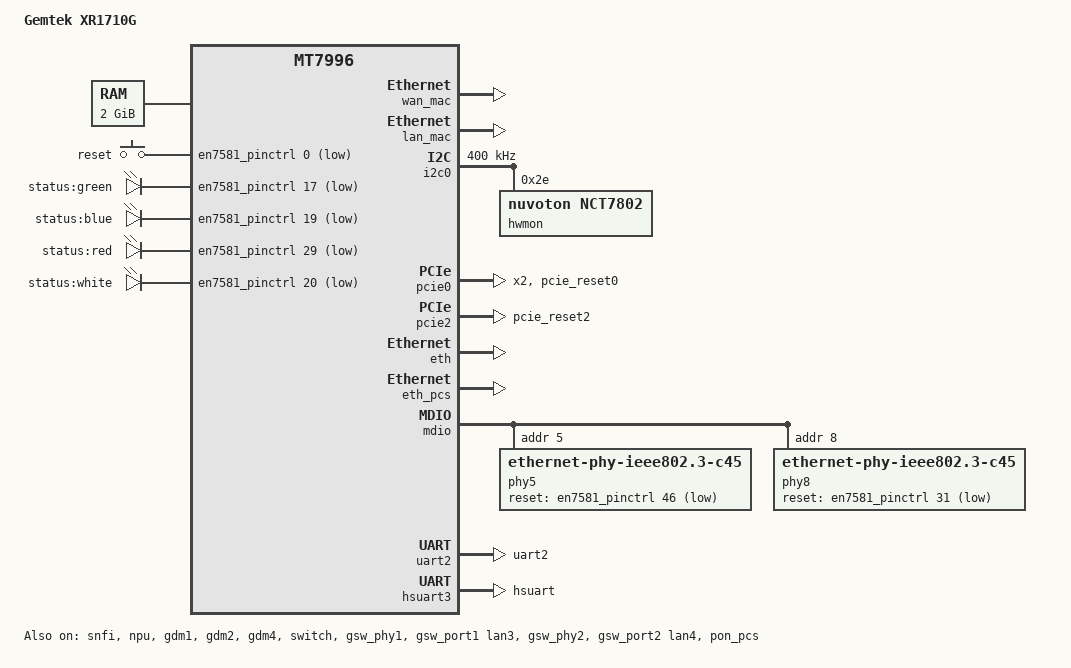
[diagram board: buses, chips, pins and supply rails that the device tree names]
// SPDX-License-Identifier: GPL-2.0-or-later OR MIT
/dts-v1/;

/memreserve/ 0x80000000 0x200000;
#include <dt-bindings/leds/common.h>
#include <dt-bindings/gpio/gpio.h>
#include <dt-bindings/input/input.h>
#include <dt-bindings/phy/phy.h>
#include "an7581.dtsi"
#include "an7581-npu-mt7996.dtsi"
/ {
	model = "Gemtek XR1710G";
	compatible = "gemtek,xr1710g",
		     "airoha,an7581", "airoha,en7581";
	aliases {
		serial0 = &uart1;
		led-boot = &led_status_red;
		led-failsafe = &led_status_blue;
		led-upgrade = &led_status_blue;
		led-running = &led_status_green;
	};
	chosen {
		rootdisk = <&ubi_rootfs>;
		bootargs = "console=ttyS0,115200 earlycon";
		stdout-path = "serial0:115200n8";
	};
	memory@80000000 {
		device_type = "memory";
		/* The board contains 2 GiB of DRAM. */
		reg = <0x0 0x80000000 0x0 0x80000000>;
	};
	keys {
		compatible = "gpio-keys";
		key-restart {
			label = "reset";
			gpios = <&en7581_pinctrl 0 GPIO_ACTIVE_LOW>;
			linux,code = <KEY_RESTART>;
		};
	};
	leds {
		compatible = "gpio-leds";
		led_status_green: led-status-green {
			label = "status:green";
			gpios = <&en7581_pinctrl 17 GPIO_ACTIVE_LOW>;
		};
		led_status_blue: led-status-blue {
			label = "status:blue";
			gpios = <&en7581_pinctrl 19 GPIO_ACTIVE_LOW>;
		};
		led_status_red: led-status-red {
			label = "status:red";
			gpios = <&en7581_pinctrl 29 GPIO_ACTIVE_LOW>;
			default-state = "on";
		};
		led_status_white: led-status-white {
			label = "status:white";
			gpios = <&en7581_pinctrl 20 GPIO_ACTIVE_LOW>;
		};
	};
};
&en7581_pinctrl {
	gpio-ranges = <&en7581_pinctrl 0 13 47>;
	mdio_pins: mdio-pins {
		mux {
			function = "mdio";
			groups = "mdio";
		};
		conf {
			pins = "gpio2";
			output-high;
		};
	};
	pcie0_rst_pins: pcie0-rst-pins {
		conf {
			pins = "pcie_reset0";
			drive-open-drain = <1>;
		};
	};
	pcie2_rst_pins: pcie2-rst-pins {
		conf {
			pins = "pcie_reset2";
			drive-open-drain = <1>;
		};
	};
	/* LAN2/LAN3 LEDs are driven directly by the internal MT7530 switch. */
	gswp1_led0_pins: gswp1-led0-pins {
		mux {
			function = "phy1_led0";
			pins = "gpio33";
		};
	};
	gswp1_led1_pins: gswp1-led1-pins {
		mux {
			function = "phy1_led1";
			pins = "gpio43";
		};
	};
	gswp2_led0_pins: gswp2-led0-pins {
		mux {
			function = "phy2_led0";
			pins = "gpio34";
		};
	};
	gswp2_led1_pins: gswp2-led1-pins {
		mux {
			function = "phy2_led1";
			pins = "gpio44";
		};
	};
	uart2_pins: uart2-pins {
		mux {
			function = "uart";
			groups = "uart2";
		};
	};
	hsuart_pins: hsuart-pins {
		mux {
			function = "uart";
			groups = "hsuart";
		};
	};
};
&snfi {
	status = "okay";
};
&spi_nand {
	#address-cells = <1>;
	#size-cells = <1>;
	partitions {
		compatible = "fixed-partitions";
		#address-cells = <1>;
		#size-cells = <1>;
		partition@0 {
			label = "vendor";
			reg = <0x00000000 0x00600000>;
			read-only;
		};
		partition@600000 {
			label = "chainloader";
			reg = <0x00600000 0x00100000>;
			read-only;
		};
		partition@700000 {
			label = "ubi";
			reg = <0x00700000 0x1b700000>;
			compatible = "linux,ubi";
			volumes {
				ubi-volume-ubootenv {
					volname = "ubootenv";
					nvmem-layout {
						compatible = "u-boot,env-redundant-bool-layout";
					};
				};
				ubi-volume-ubootenv2 {
					volname = "ubootenv2";
					nvmem-layout {
						compatible = "u-boot,env-redundant-bool-layout";
					};
				};
				ubi_rootfs: ubi-volume-fit {
					volname = "fit";
				};
				ubi_factory: ubi-volume-factory {
					volname = "factory";
				};
			};
		};
		/* reserved for bad block table */
		reserved_bmt@1be00000 {
			label = "reserved_bmt";
			reg = <0x1be00000 0x04200000>;
			read-only;
		};
	};
};
&ubi_factory {
	nvmem-layout {
		compatible = "fixed-layout";
		#address-cells = <1>;
		#size-cells = <1>;
		eeprom: eeprom@0 {
			reg = <0x0 0x1e00>;
		};
		wan_mac: macaddr@5000 {
			compatible = "mac-base";
			#nvmem-cell-cells = <1>;
			reg = <0x5000 0x6>;
		};
		lan_mac: macaddr@6000 {
			/* +0: main LAN2, +1/+2/+3: Wi-Fi bands, +4: CPU. */
			compatible = "mac-base";
			reg = <0x6000 0x6>;
			#nvmem-cell-cells = <1>;
		};
	};
};
&i2c0 {
	clock-frequency = <400000>;
	status = "okay";
	hwmon@2e {
		compatible = "nuvoton,nct7802";
		reg = <0x2e>;
	};
};
&pcie0 {
	status = "okay";

	reg = <0x0 0x1fc00000 0x0 0x1670>,
	      <0x0 0x1fc20000 0x0 0x1670>;

	reg-names = "pcie-mac", "sec-pcie-mac";

	resets = <&scuclk EN7581_PCIE0_RST>,
		 <&scuclk EN7581_PCIE1_RST>,
		 <&scuclk EN7581_PCIC_PERSTOUT0_RST>,
		 <&scuclk EN7581_PCIC_PERSTOUT1_RST>;

	reset-names = "phy-lane0",
		      "phy-lane1",
		      "perstout",
		      "sec-perstout";

	num-lanes = <2>;
	max-link-speed = <3>;

	airoha,scu = <&scuclk>;

	pinctrl-names = "default";
	pinctrl-0 = <&pcie0_rst_pins>;
	pcie@0,0 {
		reg = <0x0000 0 0 0 0>;
		device_type = "pci";
		#address-cells = <3>;
		#size-cells = <2>;
		mt7996@0,0 {
			reg = <0x0000 0 0 0 0>;
			#address-cells = <1>;
			#size-cells = <0>;
			nvmem-cells = <&eeprom>;
			nvmem-cell-names = "eeprom";
			airoha,npu = <&npu>;
			airoha,eth = <&eth>;
			band@0 {
				/* 2.4 GHz */
				reg = <0>;
				nvmem-cells = <&lan_mac 1>;
				nvmem-cell-names = "mac-address";
			};
			band@1 {
				/* 5 GHz */
				reg = <1>;
				nvmem-cells = <&lan_mac 2>;
				nvmem-cell-names = "mac-address";
			};
			band@2 {
				/* 6 GHz */
				reg = <2>;
				nvmem-cells = <&lan_mac 3>;
				nvmem-cell-names = "mac-address";
			};
		};
	};
};

&pcie1 {
	status = "disabled";
};

&pcie2 {
	airoha,wait-for-pcie0-perst;
	status = "okay";
	max-link-speed = <2>;
	airoha,scu = <&scuclk>;
	pinctrl-names = "default";
	pinctrl-0 = <&pcie2_rst_pins>;
};



&npu {
	status = "okay";
};
&afe {
	status = "disabled";
};
&eth {
	status = "okay";
};

&gdm1 {
	status = "okay";
	nvmem-cells = <&lan_mac 4>;
	nvmem-cell-names = "mac-address";
	openwrt,netdev-name = "cpu";
};
&gdm2 {
	status = "okay";
	managed = "in-band-status";
	phy-handle = <&phy8>;
	phy-mode = "usxgmii";
	nvmem-cells = <&wan_mac 0>;
	nvmem-cell-names = "mac-address";
	openwrt,netdev-name = "wan";
};
&eth_pcs {
	status = "okay";
};
&gdm4 {
	status = "okay";
	managed = "in-band-status";
	phy-handle = <&phy5>;
	phy-mode = "usxgmii";
	nvmem-cells = <&lan_mac 0>;
	nvmem-cell-names = "mac-address";
	openwrt,netdev-name = "lan2";
};
&switch {
	status = "okay";
	pinctrl-names = "default";
	pinctrl-0 = <&mdio_pins>;
	mdio {
		phy5: ethernet-phy@5 {
			compatible = "ethernet-phy-ieee802.3-c45";
			reg = <5>;
			reset-gpios = <&en7581_pinctrl 46 GPIO_ACTIVE_LOW>;
			reset-assert-us = <200000>;
			reset-deassert-us = <200000>;
			tx-polarity = <PHY_POL_INVERT>;
			rx-polarity = <PHY_POL_INVERT>;
			realtek,patch-rtk-serdes;
		};
		phy8: ethernet-phy@8 {
			compatible = "ethernet-phy-ieee802.3-c45";
			reg = <8>;
			reset-gpios = <&en7581_pinctrl 31 GPIO_ACTIVE_LOW>;
			reset-assert-us = <200000>;
			reset-deassert-us = <200000>;
			tx-polarity = <PHY_POL_INVERT>;
			rx-polarity = <PHY_POL_INVERT>;
			realtek,patch-rtk-serdes;
		};
	};
};
&gsw_phy1 {
	status = "okay";
	pinctrl-names = "gbe-led";
	pinctrl-0 = <&gswp1_led0_pins>, <&gswp1_led1_pins>;
	leds {
		/delete-node/ led@0;
		/delete-node/ led@1;
		lan3-green {
			reg = <0>;
			linux,led-devicename = "lan3";
			label = "green";
			active-low;
			status = "okay";
		};
		lan3-amber {
			reg = <1>;
			linux,led-devicename = "lan3";
			label = "amber";
			active-low;
			status = "okay";
		};
	};
};
&gsw_port1 {
	status = "okay";
	label = "lan3";
};
&gsw_phy2 {
	status = "okay";
	pinctrl-names = "gbe-led";
	pinctrl-0 = <&gswp2_led0_pins>, <&gswp2_led1_pins>;
	leds {
		/delete-node/ led@0;
		/delete-node/ led@1;
		lan4-green {
			reg = <0>;
			linux,led-devicename = "lan4";
			label = "green";
			active-low;
			status = "okay";
		};
		lan4-amber {
			reg = <1>;
			linux,led-devicename = "lan4";
			label = "amber";
			active-low;
			status = "okay";
		};
	};
};
&gsw_port2 {
	status = "okay";
	label = "lan4";
};
&uart2 {
	status = "okay";
	pinctrl-names = "default";
	pinctrl-0 = <&uart2_pins>;
};
&hsuart3 {
	status = "okay";
	pinctrl-names = "default";
	pinctrl-0 = <&hsuart_pins>;
};

&pon_pcs {
	status = "okay";
};

&xpon_mac {
	status = "disabled";
};
